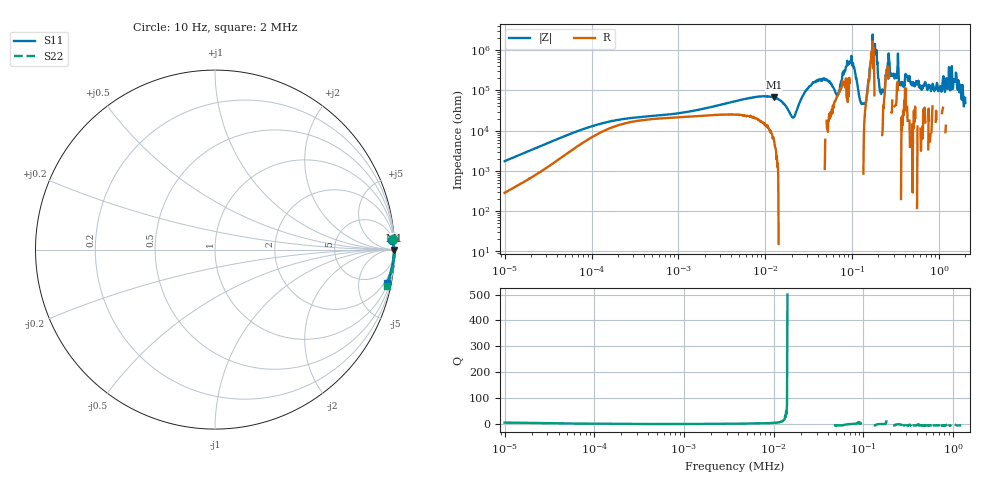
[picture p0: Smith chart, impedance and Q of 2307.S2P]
!Agilent Technologies,E5061B,MY49204007,A.02.12
!Date: Wed Jul 23 11:49:37 2025
!Data & Calibration Information:
!Freq	S11:SOLT2(ON)	S21:SOLT2(ON)	S12:SOLT2(ON)	S22:SOLT2(ON)
# Hz S dB R 50
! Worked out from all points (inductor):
!   1040 points, 10 Hz to 2 MHz, reference 50 ohm
!   read as one part in series: L = 26.6 H near 10.69 Hz
!   highest Q = 12 at 12.6 kHz (marker M1), where L = 845 mH
!   self-resonance near 21.11 kHz
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10  -0.10 3.2  -24.91 -77.3  -24.91 -77.2  -0.08 3.4
77.209  -0.04 0.5  -40.56 -62.7  -40.56 -62.5  -0.02 0.7
588.818  -0.03 0.1  -47.61 -33.1  -47.61 -32.9  -0.02 0.3
4498.482  -0.01 0.0  -54.68 -62.4  -54.68 -62.2  0.01 0.2
12597.64  -0.01 -0.1  -56.53 -85.2  -56.51 -85.5  0.01 0.1
20887.52  -0.09 -0.2  -46.57 -170.9  -46.57 -171.0  -0.00 0.1
34305.13  -0.01 -0.1  -63.23 99.7  -63.49 99.3  0.01 -0.0
49996.43  -0.01 -0.2  -65.08 90.8  -65.70 86.0  0.01 -0.2
67038.87  -0.01 -0.3  -57.58 20.0  -57.74 20.0  -0.03 -0.3
82060.32  -0.01 -0.4  -69.32 -62.1  -69.77 -66.0  0.01 -0.2
96607.24  -0.01 -0.6  -74.85 -90.4  -73.38 -79.3  0.01 -0.4
124829.8  -0.04 -0.7  -54.15 154.6  -53.82 155.4  0.00 -0.6
135646.6  -0.02 -0.7  -53.49 81.5  -53.66 80.4  -0.01 -0.7
144918.2  -0.02 -0.7  -55.69 5.1  -55.51 6.8  -0.02 -0.6
177790.9  -0.01 -0.9  -80.99 -62.8  -81.37 -36.0  0.01 -0.8
217963.3  -0.01 -1.2  -59.63 101.2  -59.34 99.7  -0.00 -1.0
261946.5  -0.01 -1.3  -78.45 63.4  -72.87 61.8  -0.00 -1.3
375694.8  -0.02 -1.9  -63.06 78.8  -63.32 83.1  -0.00 -1.9
432692.3  -0.04 -2.3  -66.42 82.9  -68.40 87.4  -0.01 -2.2
1016303  -0.07 -5.5  -61.42 86.6  -62.55 90.9  -0.03 -6.0
1574823  -0.15 -8.4  -68.36 -157.8  -71.39 -165.9  -0.10 -9.2
2000000  -0.20 -11.0  -54.09 -127.4  -53.57 -130.9  -0.19 -11.8
